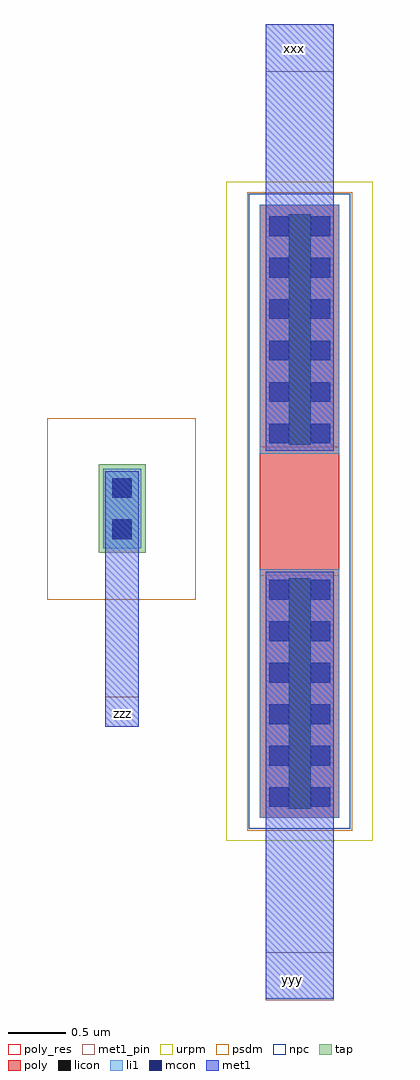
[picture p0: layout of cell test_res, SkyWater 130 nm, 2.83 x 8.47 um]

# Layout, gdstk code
import gdstk
lib = gdstk.Library(unit=1e-6, precision=1e-09)
def R(c, l, rs):  # rectangles x0, y0, x1, y1
    for r in rs: c.add(gdstk.rectangle(r[:2], r[2:], *l))
def A(c, l, x, y, w, h, nx, ny, dx, dy):  # array of equal rectangles
    R(c, l, [(x+i*dx, y+j*dy, x+i*dx+w, y+j*dy+h) for i in range(nx) for j in range(ny)])
tap = (65, 44)
poly_res = (66, 13)
poly = (66, 20)
licon = (66, 44)
li1 = (67, 20)
mcon = (67, 44)
met1_pin = (68, 16)
met1 = (68, 20)
urpm = (79, 20)
psdm = (94, 20)
npc = (95, 20)

sky130_fd_pr__res_xhigh_ = lib.new_cell('sky130_fd_pr__res_xhigh_po_0p69_AA9MMU')
R(sky130_fd_pr__res_xhigh_, poly_res, [(-0.345,-0.56,0.345,0.56)])
R(sky130_fd_pr__res_xhigh_, poly, [(-0.345,-2.66,0.345,2.66)])
R(sky130_fd_pr__res_xhigh_, licon, [(-0.095,-2.58,0.095,-0.58), (-0.095,0.58,0.095,2.58)])
R(sky130_fd_pr__res_xhigh_, li1, [(-0.345,-2.66,0.345,-0.5), (-0.345,0.5,0.345,2.66)])
A(sky130_fd_pr__res_xhigh_, mcon, -0.265, -2.565, 0.17, 0.17, 1, 6, 0, 0.36)
A(sky130_fd_pr__res_xhigh_, mcon, 0.095, -2.565, 0.17, 0.17, 1, 6, 0, 0.36)
A(sky130_fd_pr__res_xhigh_, mcon, -0.265, 0.59, 0.17, 0.17, 1, 6, 0, 0.36)
A(sky130_fd_pr__res_xhigh_, mcon, 0.095, 0.59, 0.17, 0.17, 1, 6, 0, 0.36)
R(sky130_fd_pr__res_xhigh_, met1, [(-0.295,-2.63,0.295,-0.525), (-0.295,0.525,0.295,2.63)])
R(sky130_fd_pr__res_xhigh_, urpm, [(-0.635,-2.86,0.635,2.86)])
R(sky130_fd_pr__res_xhigh_, psdm, [(-0.455,-2.77,0.455,2.77)])
R(sky130_fd_pr__res_xhigh_, npc, [(-0.44,-2.755,0.44,2.755)])

contact_6 = lib.new_cell('contact$6')
R(contact_6, tap, [(-0.205,-0.385,0.205,0.385)])
R(contact_6, licon, [(-0.085,-0.265,0.085,-0.095), (-0.085,0.095,0.085,0.265)])
R(contact_6, li1, [(-0.165,-0.345,0.165,0.345)])

contact_7 = lib.new_cell('contact$7')
R(contact_7, li1, [(-0.165,-0.345,0.165,0.345)])
R(contact_7, mcon, [(-0.085,-0.265,0.085,-0.095), (-0.085,0.095,0.085,0.265)])
R(contact_7, met1, [(-0.145,-0.325,0.145,0.325)])

test_res = lib.new_cell('test_res')
R(test_res, met1_pin, [(-1.81,-3.17,-1.22,-2.755), (-3.2,-0.8,-2.91,-0.54), (-1.81,4.885,-1.22,5.3)])
R(test_res, met1, [(-1.81,-3.16,-1.22,-1.56), (-3.2,-0.8,-2.91,1.42), (-1.81,3.7,-1.22,5.3)])
R(test_res, psdm, [(-3.705,0.305,-2.415,1.88)])
test_res.add(gdstk.Reference(sky130_fd_pr__res_xhigh_, (-1.515,1.07)))
test_res.add(gdstk.Reference(contact_6, (-3.055,1.095)))
test_res.add(gdstk.Reference(contact_7, (-3.055,1.095)))
test_res.add(gdstk.Label('zzz', (-3.055,-0.68), layer=68, texttype=5))
test_res.add(gdstk.Label('xxx', (-1.555,5.09), layer=68, texttype=5))
test_res.add(gdstk.Label('yyy', (-1.58,-2.995), layer=68, texttype=5))

lib.write_gds('test_res.gds')
